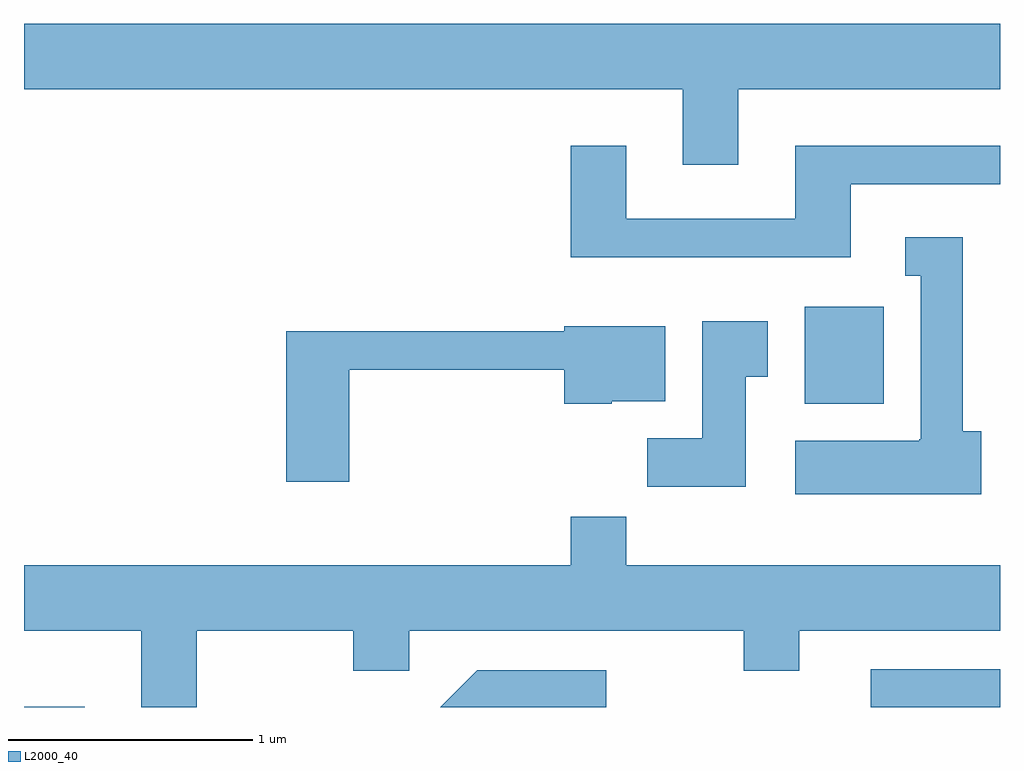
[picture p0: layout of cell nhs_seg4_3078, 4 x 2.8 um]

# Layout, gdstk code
import gdstk
lib = gdstk.Library(unit=1e-6, precision=1e-09)
def R(c, l, rs):  # rectangles x0, y0, x1, y1
    for r in rs: c.add(gdstk.rectangle(r[:2], r[2:], *l))
def P(c, l, *ps):  # polygons
    for p in ps: c.add(gdstk.Polygon(p, *l))
L2000_40 = (2000, 40)

nhs_seg4_3078 = lib.new_cell('nhs_seg4_3078')
R(nhs_seg4_3078, L2000_40, [(275.611,1289.982,275.859,1289.984), (279.081,1289.982,279.611,1290.139), (278.811,1291.226,279.134,1291.624)])
P(nhs_seg4_3078, L2000_40, [(278.539,1292.516),(279.611,1292.516),(279.611,1292.784),(275.611,1292.784),(275.611,1292.516),(278.311,1292.516),(278.311,1292.206),(278.539,1292.206)],
  [(278.999,1292.126),(279.611,1292.126),(279.611,1292.284),(278.771,1292.284),(278.771,1291.984),(278.079,1291.984),(278.079,1292.284),(277.851,1292.284),(277.851,1291.826),(278.999,1291.826)],
  [(279.534,1291.114),(279.459,1291.114),(279.459,1291.909),(279.223,1291.909),(279.223,1291.751),(279.286,1291.751),(279.286,1291.08),(279.28,1291.08),(279.28,1291.074),(278.771,1291.074),(278.771,1290.856),(279.534,1290.856)],
  [(278.569,1291.336),(278.659,1291.336),(278.659,1291.564),(278.391,1291.564),(278.391,1291.084),(278.166,1291.084),(278.166,1290.886),(278.569,1290.886)],
  [(276.944,1291.366),(277.826,1291.366),(277.826,1291.226),(278.02,1291.226),(278.02,1291.236),(278.239,1291.236),(278.239,1291.544),(277.826,1291.544),(277.826,1291.524),(276.686,1291.524),(276.686,1290.906),(276.944,1290.906)],
  [(276.319,1290.296),(276.961,1290.296),(276.961,1290.131),(277.189,1290.131),(277.189,1290.296),(278.561,1290.296),(278.561,1290.131),(278.789,1290.131),(278.789,1290.296),(279.611,1290.296),(279.611,1290.564),(278.079,1290.564),(278.079,1290.764),(277.851,1290.764),(277.851,1290.564),(275.611,1290.564),(275.611,1290.296),(276.091,1290.296),(276.091,1289.982),(276.319,1289.982)],
  [(277.998,1290.134),(277.469,1290.134),(277.316,1289.982),(277.998,1289.982)])

lib.write_gds('nhs_seg4_3078.gds')
